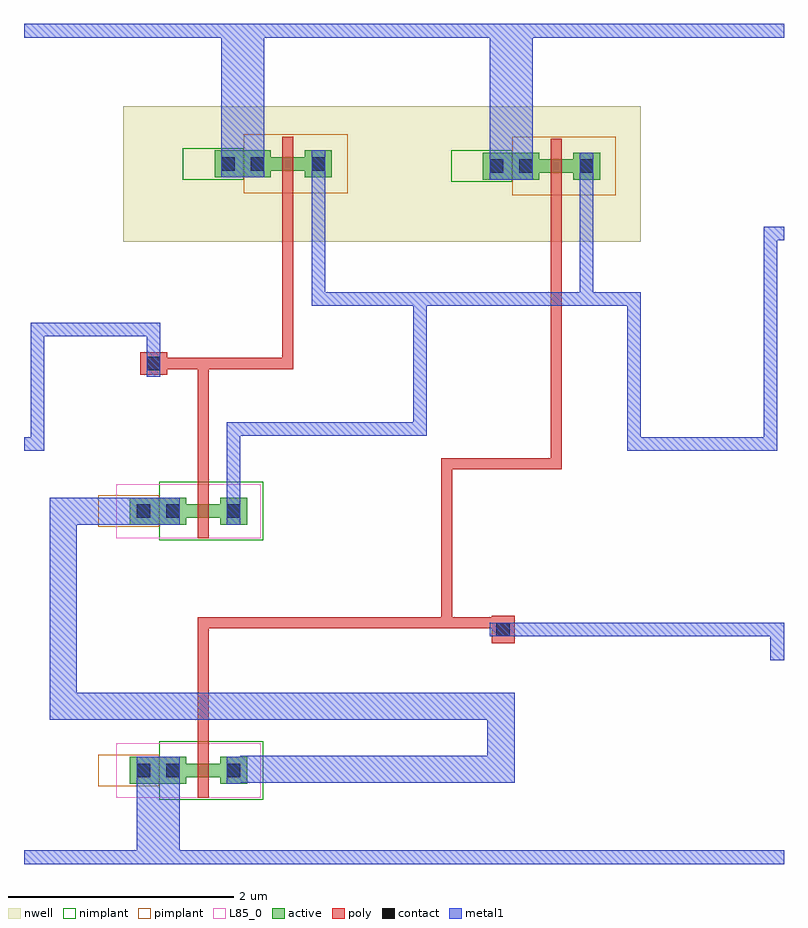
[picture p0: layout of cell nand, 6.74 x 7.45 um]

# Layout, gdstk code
import gdstk
lib = gdstk.Library(unit=1e-6, precision=5e-10)
def R(c, l, rs):  # rectangles x0, y0, x1, y1
    for r in rs: c.add(gdstk.rectangle(r[:2], r[2:], *l))
def A(c, l, x, y, w, h, nx, ny, dx, dy):  # array of equal rectangles
    R(c, l, [(x+i*dx, y+j*dy, x+i*dx+w, y+j*dy+h) for i in range(nx) for j in range(ny)])
active = (1, 0)
nwell = (2, 0)
poly = (3, 0)
nimplant = (4, 0)
pimplant = (5, 0)
contact = (6, 0)
metal1 = (7, 0)
L85_0 = (85, 0)

nmos1v_0 = lib.new_cell('nmos1v_0')
A(nmos1v_0, active, -0.1, 0, 0.1, 0.12, 3, 1, 0.1, 0)
R(nmos1v_0, active, [(-0.6,-0.06,-0.1,0.18), (0.2,-0.06,0.44,0.18)])
R(nmos1v_0, poly, [(0,-0.18,0.1,-0.16), (0,-0.16,0.1,0), (0,0,0.1,0.12), (0,0.12,0.1,0.28), (0,0.28,0.1,0.3)])
R(nmos1v_0, nimplant, [(-0.34,-0.2,0.58,0.32), (-0.18,-0.18,0.28,0.3)])
R(nmos1v_0, pimplant, [(-0.88,-0.08,-0.34,0.2)])
R(nmos1v_0, contact, [(-0.54,0,-0.42,0.12), (-0.28,0,-0.16,0.12), (0.26,0,0.38,0.12)])
R(nmos1v_0, metal1, [(-0.54,-0.06,-0.16,0.18), (-0.54,-0.06,-0.16,0.18), (0.26,-0.06,0.38,0.18)])
R(nmos1v_0, L85_0, [(-0.72,-0.18,0.56,0.3)])

pmos1v_1 = lib.new_cell('pmos1v_1')
A(pmos1v_1, active, -0.1, 0, 0.1, 0.12, 3, 1, 0.1, 0)
R(pmos1v_1, active, [(-0.6,-0.06,-0.1,0.18), (0.2,-0.06,0.44,0.18)])
R(pmos1v_1, nwell, [(-0.72,-0.18,0.56,0.3)])
R(pmos1v_1, poly, [(0,-0.18,0.1,-0.16), (0,-0.16,0.1,0), (0,0,0.1,0.12), (0,0.12,0.1,0.28), (0,0.28,0.1,0.3)])
R(pmos1v_1, nimplant, [(-0.88,-0.08,-0.34,0.2)])
R(pmos1v_1, pimplant, [(-0.34,-0.2,0.58,0.32), (-0.18,-0.18,0.28,0.3)])
R(pmos1v_1, contact, [(-0.54,0,-0.42,0.12), (-0.28,0,-0.16,0.12), (0.26,0,0.38,0.12)])
R(pmos1v_1, metal1, [(-0.54,-0.06,-0.16,0.18), (-0.54,-0.06,-0.16,0.18), (0.26,-0.06,0.38,0.18)])

m1_pov_0 = lib.new_cell('M1_POv_0')
R(m1_pov_0, poly, [(-0.1,-0.12,0.1,0.12)])
R(m1_pov_0, contact, [(-0.06,-0.06,0.06,0.06)])
R(m1_pov_0, metal1, [(-0.12,-0.06,0.12,0.06)])

m1_pov_1 = lib.new_cell('M1_POv_1')
R(m1_pov_1, poly, [(-0.12,-0.1,0.12,0.1)])
R(m1_pov_1, contact, [(-0.06,-0.06,0.06,0.06)])
R(m1_pov_1, metal1, [(-0.06,-0.12,0.06,0.12)])

nand = lib.new_cell('nand')
R(nand, nwell, [(0.88,5.52,5.47,6.72)])
R(nand, metal1, [(0,0,6.74,0.12), (6.62,1.805,6.74,1.925), (0,3.665,0.12,3.785), (6.62,5.53,6.74,5.65), (0,7.33,6.74,7.45)])
nand.add(gdstk.FlexPath([(3.75,3.55),(3.75,2.14)], 0.1, ends="extended", simple_path=True, layer=3, datatype=0))  # poly
nand.add(gdstk.FlexPath([(1.59,2.14),(3.75,2.14)], 0.1, ends="extended", simple_path=True, layer=3, datatype=0))  # poly
nand.add(gdstk.FlexPath([(1.59,1.07),(1.59,2.14)], 0.1, ends=(0, 0.05), simple_path=True, layer=3, datatype=0))  # poly
nand.add(gdstk.FlexPath([(3.75,2.14),(4.25,2.14)], 0.1, ends="extended", simple_path=True, layer=3, datatype=0))  # poly
nand.add(gdstk.FlexPath([(1.59,3.37),(1.59,4.44)], 0.1, ends=(0, 0.05), simple_path=True, layer=3, datatype=0))  # poly
nand.add(gdstk.FlexPath([(2.34,4.44),(1.59,4.44)], 0.1, ends="extended", simple_path=True, layer=3, datatype=0))  # poly
nand.add(gdstk.FlexPath([(1.15,4.44),(1.59,4.44)], 0.1, ends=(0, 0.05), simple_path=True, layer=3, datatype=0))  # poly
nand.add(gdstk.FlexPath([(4.72,5.95),(4.72,3.55)], 0.1, ends=(0, 0.05), simple_path=True, layer=3, datatype=0))  # poly
nand.add(gdstk.FlexPath([(2.34,5.97),(2.34,4.44)], 0.1, ends=(0, 0.05), simple_path=True, layer=3, datatype=0))  # poly
nand.add(gdstk.FlexPath([(4.25,2.14),(4.25,2.08)], 0.1, ends=(0.05, 0), simple_path=True, layer=3, datatype=0))  # poly
nand.add(gdstk.FlexPath([(4.72,3.55),(3.75,3.55)], 0.1, ends="extended", simple_path=True, layer=3, datatype=0))  # poly
nand.add(gdstk.FlexPath([(0.12,3.725),(0.12,4.74)], 0.12, ends="extended", simple_path=True, layer=7, datatype=0))  # metal1
nand.add(gdstk.FlexPath([(6.62,5.59),(6.62,3.725)], 0.12, ends="extended", simple_path=True, layer=7, datatype=0))  # metal1
nand.add(gdstk.FlexPath([(4.23,1.4),(4.23,0.84)], 0.24, ends="extended", simple_path=True, layer=7, datatype=0))  # metal1
nand.add(gdstk.FlexPath([(1.86,3.86),(3.51,3.86)], 0.12, ends="extended", simple_path=True, layer=7, datatype=0))  # metal1
nand.add(gdstk.FlexPath([(2.61,5.01),(2.61,6.09)], 0.12, ends=(0.06, 0), simple_path=True, layer=7, datatype=0))  # metal1
nand.add(gdstk.FlexPath([(0.35,1.4),(4.23,1.4)], 0.24, ends="extended", simple_path=True, layer=7, datatype=0))  # metal1
nand.add(gdstk.FlexPath([(1.19,0.71),(1.19,0.12)], 0.38, ends="flush", simple_path=True, layer=7, datatype=0))  # metal1
nand.add(gdstk.FlexPath([(1.15,4.74),(1.15,4.44)], 0.12, ends=(0.06, 0), simple_path=True, layer=7, datatype=0))  # metal1
nand.add(gdstk.FlexPath([(4.23,0.84),(1.92,0.84)], 0.24, ends=(0.12, 0), simple_path=True, layer=7, datatype=0))  # metal1
nand.add(gdstk.FlexPath([(3.51,3.86),(3.51,5.01)], 0.12, ends="extended", simple_path=True, layer=7, datatype=0))  # metal1
nand.add(gdstk.FlexPath([(1.94,6.33),(1.94,7.45)], 0.38, ends="flush", simple_path=True, layer=7, datatype=0))  # metal1
nand.add(gdstk.FlexPath([(5.41,3.725),(5.41,5.01)], 0.12, ends="extended", simple_path=True, layer=7, datatype=0))  # metal1
nand.add(gdstk.FlexPath([(1.86,3.25),(1.86,3.86)], 0.12, ends=(0, 0.06), simple_path=True, layer=7, datatype=0))  # metal1
nand.add(gdstk.FlexPath([(6.62,3.725),(5.41,3.725)], 0.12, ends="extended", simple_path=True, layer=7, datatype=0))  # metal1
nand.add(gdstk.FlexPath([(4.32,6.31),(4.32,7.33)], 0.38, ends="flush", simple_path=True, layer=7, datatype=0))  # metal1
nand.add(gdstk.FlexPath([(4.99,5.01),(3.51,5.01)], 0.12, ends="extended", simple_path=True, layer=7, datatype=0))  # metal1
nand.add(gdstk.FlexPath([(3.51,5.01),(2.61,5.01)], 0.12, ends="extended", simple_path=True, layer=7, datatype=0))  # metal1
nand.add(gdstk.FlexPath([(4.99,6.07),(4.99,5.01)], 0.12, ends=(0, 0.06), simple_path=True, layer=7, datatype=0))  # metal1
nand.add(gdstk.FlexPath([(0.35,3.13),(0.35,1.4)], 0.24, ends="extended", simple_path=True, layer=7, datatype=0))  # metal1
nand.add(gdstk.FlexPath([(1,3.13),(0.35,3.13)], 0.24, ends=(0, 0.12), simple_path=True, layer=7, datatype=0))  # metal1
nand.add(gdstk.FlexPath([(6.68,2.08),(6.68,1.805)], 0.12, ends=(0.06, 0), simple_path=True, layer=7, datatype=0))  # metal1
nand.add(gdstk.FlexPath([(4.25,2.08),(6.68,2.08)], 0.12, ends=(0, 0.06), simple_path=True, layer=7, datatype=0))  # metal1
nand.add(gdstk.FlexPath([(5.41,5.01),(4.99,5.01)], 0.12, ends="extended", simple_path=True, layer=7, datatype=0))  # metal1
nand.add(gdstk.FlexPath([(0.12,4.74),(1.15,4.74)], 0.12, ends="extended", simple_path=True, layer=7, datatype=0))  # metal1
nand.add(gdstk.Reference(nmos1v_0, (1.54,3.07)))
nand.add(gdstk.Reference(nmos1v_0, (1.54,0.77)))
nand.add(gdstk.Reference(pmos1v_1, (2.29,6.15)))
nand.add(gdstk.Reference(pmos1v_1, (4.67,6.13)))
nand.add(gdstk.Reference(m1_pov_0, (4.25,2.08)))
nand.add(gdstk.Reference(m1_pov_1, (1.15,4.44)))

lib.write_gds('nand.gds')
